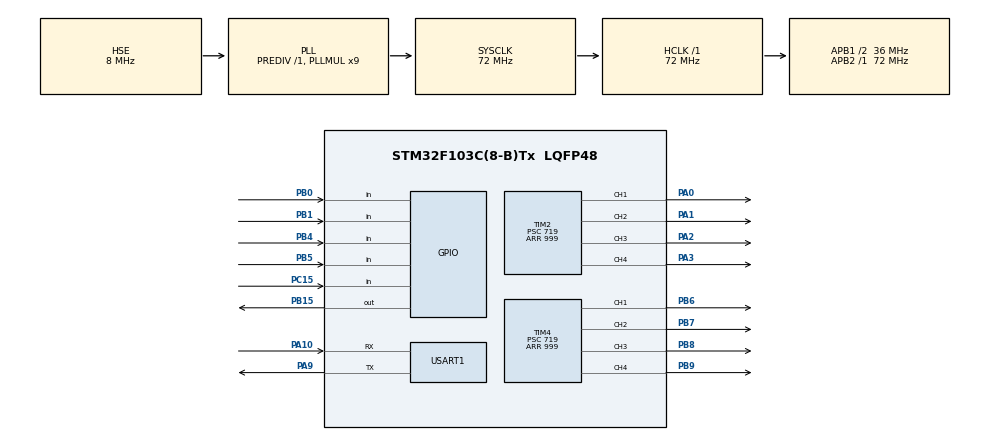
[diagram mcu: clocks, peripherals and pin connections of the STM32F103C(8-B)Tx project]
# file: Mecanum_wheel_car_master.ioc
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Mcu.Family=STM32F1
Mcu.Name=STM32F103C(8-B)Tx
Mcu.Package=LQFP48
NVIC.PriorityGroup=NVIC_PRIORITYGROUP_4
NVIC.TIM3_IRQn=true\:0\:0\:false\:false\:true\:true\:true\:true
NVIC.USART1_IRQn=true\:0\:0\:false\:false\:true\:true\:true\:true
PA0-WKUP.Signal=S_TIM2_CH1_ETR
PA1.Signal=S_TIM2_CH2
PA10.Mode=Asynchronous
PA10.Signal=USART1_RX
PA13.Mode=Serial_Wire
PA13.Signal=SYS_JTMS-SWDIO
PA14.Mode=Serial_Wire
PA14.Signal=SYS_JTCK-SWCLK
PA2.Signal=S_TIM2_CH3
PA3.Signal=S_TIM2_CH4
PA9.Mode=Asynchronous
PA9.Signal=USART1_TX
PB0.GPIO_Mode=GPIO_MODE_INPUT
PB0.GPIO_PuPd=GPIO_PULLUP
PB0.Signal=GPIO_Input
PB1.GPIO_Mode=GPIO_MODE_INPUT
PB1.GPIO_PuPd=GPIO_PULLUP
PB1.Signal=GPIO_Input
PB15.GPIO_PuPd=GPIO_PULLDOWN
PB15.GPIO_Speed=GPIO_SPEED_FREQ_HIGH
PB15.Signal=GPIO_Output
PB4.GPIO_Mode=GPIO_MODE_INPUT
PB4.GPIO_PuPd=GPIO_PULLUP
PB4.Signal=GPIO_Input
PB5.GPIO_Mode=GPIO_MODE_INPUT
PB5.GPIO_PuPd=GPIO_PULLUP
PB5.Signal=GPIO_Input
PB6.Signal=S_TIM4_CH1
PB7.Signal=S_TIM4_CH2
PB8.Signal=S_TIM4_CH3
PB9.Signal=S_TIM4_CH4
PC15-OSC32_OUT.GPIO_Mode=GPIO_MODE_INPUT
PC15-OSC32_OUT.GPIO_PuPd=GPIO_PULLDOWN
PC15-OSC32_OUT.Signal=GPIO_Input
PD0-OSC_IN.Mode=HSE-External-Oscillator
PD0-OSC_IN.Signal=RCC_OSC_IN
PD1-OSC_OUT.Mode=HSE-External-Oscillator
PD1-OSC_OUT.Signal=RCC_OSC_OUT
ProjectManager.HeapSize=0x200
ProjectManager.StackSize=0x400
ProjectManager.TargetToolchain=MDK-ARM V5.32
RCC.AHBFreq_Value=72000000
RCC.APB1CLKDivider=RCC_HCLK_DIV2
RCC.APB1Freq_Value=36000000
RCC.APB1TimFreq_Value=72000000
RCC.APB2Freq_Value=72000000
RCC.APB2TimFreq_Value=72000000
RCC.HCLKFreq_Value=72000000
RCC.PLLMUL=RCC_PLL_MUL9
RCC.PLLSourceVirtual=RCC_PLLSOURCE_HSE
RCC.SYSCLKFreq_VALUE=72000000
RCC.SYSCLKSource=RCC_SYSCLKSOURCE_PLLCLK
RCC.USBFreq_Value=72000000
SH.S_TIM2_CH1_ETR.0=TIM2_CH1,PWM Generation1 CH1
SH.S_TIM2_CH2.0=TIM2_CH2,PWM Generation2 CH2
SH.S_TIM2_CH3.0=TIM2_CH3,PWM Generation3 CH3
SH.S_TIM2_CH4.0=TIM2_CH4,PWM Generation4 CH4
SH.S_TIM4_CH1.0=TIM4_CH1,PWM Generation1 CH1
SH.S_TIM4_CH2.0=TIM4_CH2,PWM Generation2 CH2
SH.S_TIM4_CH3.0=TIM4_CH3,PWM Generation3 CH3
SH.S_TIM4_CH4.0=TIM4_CH4,PWM Generation4 CH4
TIM2.AutoReloadPreload=TIM_AUTORELOAD_PRELOAD_ENABLE
TIM2.Channel-PWM\ Generation1\ CH1=TIM_CHANNEL_1
TIM2.Channel-PWM\ Generation2\ CH2=TIM_CHANNEL_2
TIM2.Channel-PWM\ Generation3\ CH3=TIM_CHANNEL_3
TIM2.Channel-PWM\ Generation4\ CH4=TIM_CHANNEL_4
TIM2.Period=999
TIM2.Prescaler=719
TIM3.AutoReloadPreload=TIM_AUTORELOAD_PRELOAD_ENABLE
TIM3.Period=9
TIM3.Prescaler=71
TIM4.AutoReloadPreload=TIM_AUTORELOAD_PRELOAD_ENABLE
TIM4.Channel-PWM\ Generation1\ CH1=TIM_CHANNEL_1
TIM4.Channel-PWM\ Generation2\ CH2=TIM_CHANNEL_2
TIM4.Channel-PWM\ Generation3\ CH3=TIM_CHANNEL_3
TIM4.Channel-PWM\ Generation4\ CH4=TIM_CHANNEL_4
TIM4.Period=999
TIM4.Prescaler=719
USART1.VirtualMode=VM_ASYNC
VP_TIM2_VS_ClockSourceINT.Mode=Internal
VP_TIM3_VS_ClockSourceINT.Mode=Internal
VP_TIM4_VS_ClockSourceINT.Mode=Internal
board=custom

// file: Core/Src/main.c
/* USER CODE BEGIN Header */
/**
  ******************************************************************************
  * @file           : main.c
  * @brief          : Main program body (Mecanum Wheel Car + USART1 Integration)
  ******************************************************************************
  */
/* USER CODE END Header */
#include "main.h"
#include "tim.h"
#include "usart.h"
#include "gpio.h"

/* USER CODE BEGIN Includes */
#include "motor.h"
#include "sensor.h"
#include "LED.h"
#include <string.h>
#include "PID.h"
#include "avoid.h"
#include "HC_SR04.h"
/* USER CODE END Includes */

/* USER CODE BEGIN PTD */
// 定义小车运行模式枚举
typedef enum {
    MODE_PATROL = 0,    // 循迹巡逻模式
    MODE_INTERCEPT = 1, // 离轨拦截模式
} CarMode_TypeDef;
/* USER CODE END PTD */

/* USER CODE BEGIN PV */
uint8_t SensorState[4];
uint8_t Area, Last_Area; // 巡线区域记录变量

CarMode_TypeDef CarMode = MODE_PATROL; // 默认开机为巡逻模式
/* USER CODE END PV */

void SystemClock_Config(void);
/* USER CODE BEGIN PFP */
void Send_Status_To_Upper(float distance_mm, uint8_t is_emergency);
/* USER CODE END PFP */

int main(void)
{

  /* MCU Configuration--------------------------------------------------------*/

  /* Reset of all peripherals, Initializes the Flash interface and the Systick. */
  HAL_Init();

  /* Configure the system clock */
  SystemClock_Config();

  /* Initialize all configured peripherals */
  MX_GPIO_Init();
  MX_TIM2_Init();
  MX_TIM4_Init();
  MX_TIM3_Init();
  MX_USART1_UART_Init();
  /* USER CODE BEGIN 2 */
  LED_Init();
  Motor_Init();   // 启动电机 PWM 通道
  Usart1_Init();  // 启动串口 1 中断接收
  Avoid_Init();   // 避障初始化
  /* USER CODE END 2 */

  while (1)
  {
    /* USER CODE END WHILE */

    /* USER CODE BEGIN 3 */
    // 1. 高频刷新超声波避障检测，并获取当前的物理状态
    Avoid_Check_Obstacle();
    uint8_t is_emergency = Avoid_Get_Emergency_Flag();
    float distance_mm = Avoid_Get_Distance();

    // 实时读取4路红外状态 (0代表黑线，1代表白地)
    SensorState[0] = Sensor0_Get_State(); // PB1 左外
    SensorState[1] = Sensor1_Get_State(); // PB0 左内
    SensorState[2] = Sensor2_Get_State(); // PB4 右内
    SensorState[3] = Sensor3_Get_State(); // PB5 右外

    // 只要有任意一路红外探头检测到黑线，hit_black_line 为 1
    uint8_t hit_black_line = (!SensorState[0] || !SensorState[1] || !SensorState[2] || !SensorState[3]);

    // 2. 监测串口 1 是否收到了上位机的 8 字节十六进制指令
    if (Usart1_GetRxFlag())
    {
        uint8_t cmd_type = RxBuffer[2];

        if (cmd_type == 0x01) // 拦截 / 上位机运动控制指令
        {
            int8_t rx_vx = (int8_t)RxBuffer[3];
            int8_t rx_vy = (int8_t)RxBuffer[4];
            int8_t rx_w  = (int8_t)RxBuffer[5];

            // =================================================================
            // 核心回航自锁：如果上位机发的是倒车指令 (rx_vx < 0)，且探头压到了黑线：
            // 单片机立刻就地截断倒车，强制切回巡线模式，拒绝继续往后倒！
            // 追人时 rx_vx > 0，即使碾过黑线也绝不误触发，继续全速追人！
            // =================================================================
            if (rx_vx < 0 && hit_black_line)
            {
                CarMode = MODE_PATROL; // 触线自锁，立刻交还巡线！
                Last_Area = 3;
            }
            else
            {
                CarMode = MODE_INTERCEPT; // 正常上位机接管 (追人冲锋或在白地上倒车)
                int16_t target_vx = (int16_t)rx_vx * 10;
                int16_t target_vy = (int16_t)rx_vy * 10;
                int16_t target_w  = (int16_t)rx_w * 10;
                Mechanics_Move(target_vx, target_vy, target_w);
            }
        }
        else if (cmd_type == 0x00) // 恢复自主巡逻模式
        {
            CarMode = MODE_PATROL;
            Last_Area = 3;
        }
    }

    // 2.1 双重保险：如果在接管模式倒车中途，探头刚刚划过黑线，立即毫秒级切换！
    if (CarMode == MODE_INTERCEPT)
    {
        int8_t current_rx_vx = (int8_t)RxBuffer[3];
        if (current_rx_vx < 0 && hit_black_line)
        {
            CarMode = MODE_PATROL;
            Last_Area = 3;
        }
    }

    // 3. 根据当前模式，执行不同的业务逻辑 (100% 恢复最初原始速度！)
    if (CarMode == MODE_PATROL)
    {
        // 循迹巡逻模式下的避障与巡线逻辑
        if (is_emergency == 0)
        {
            if (SensorState[0] && !SensorState[1] && !SensorState[2] && SensorState[3])   // Area 3: 居中，直行
            {
                Area = 3;
                Car_Forward(200);
            }
            else if (SensorState[0] && SensorState[1] && !SensorState[2] && SensorState[3]) // Area 4: 轻微偏左，向右小转修正
            {
                Area = 4;
                Car_TurnRight(200);
            }
            else if (SensorState[0] && SensorState[1] && SensorState[2] && !SensorState[3]) // Area 6: 严重偏左，向右大转急转
            {
                Area = 6;
                Car_TurnRight(300);
            }
            else if (SensorState[0] && !SensorState[1] && SensorState[2] && SensorState[3]) // Area 2: 轻微偏右，向左小转修正
            {
                Area = 2;
                Car_TurnLeft(200);
            }
            else if (!SensorState[0] && SensorState[1] && SensorState[2] && SensorState[3]) // Area 0: 严重偏右，向左大转急转
            {
                Area = 0;
                Car_TurnLeft(300);
            }
            else if (SensorState[0] && SensorState[1] && SensorState[2] && SensorState[3])  // 全部脱轨丢失黑线
            {
                if (Last_Area == 4)   // 根据上一次的转向趋势执行惯性寻线
                {
                    Area = 5;
                    Car_TurnRight(250);
                }
                else if (Last_Area == 2)
                {
                    Area = 1;
                    Car_TurnLeft(250);
                }
            }

            Last_Area = Area;
        }
    }

    // 4. 每隔 1 秒，自动向上位机上报一次小车传感器状态 (0xFF 0xFE 0x02 ...)
    static uint32_t last_time = 0;
    if (HAL_GetTick() - last_time >= 1000)
    {
        Send_Status_To_Upper(distance_mm, is_emergency);
        last_time = HAL_GetTick();
    }

    HAL_Delay(30); // 恢复最初原版的 30ms 延时
  }
  /* USER CODE END 3 */

}

void SystemClock_Config(void)
{
  RCC_OscInitTypeDef RCC_OscInitStruct = {0};
  RCC_ClkInitTypeDef RCC_ClkInitStruct = {0};

  RCC_OscInitStruct.OscillatorType = RCC_OSCILLATORTYPE_HSE;
  RCC_OscInitStruct.HSEState = RCC_HSE_ON;
  RCC_OscInitStruct.HSEPredivValue = RCC_HSE_PREDIV_DIV1;
  RCC_OscInitStruct.HSIState = RCC_HSI_ON;
  RCC_OscInitStruct.PLL.PLLState = RCC_PLL_ON;
  RCC_OscInitStruct.PLL.PLLSource = RCC_PLLSOURCE_HSE;
  RCC_OscInitStruct.PLL.PLLMUL = RCC_PLL_MUL9;
  if (HAL_RCC_OscConfig(&RCC_OscInitStruct) != HAL_OK)
  {
    Error_Handler();
  }

  RCC_ClkInitStruct.ClockType = RCC_CLOCKTYPE_HCLK|RCC_CLOCKTYPE_SYSCLK
                              |RCC_CLOCKTYPE_PCLK1|RCC_CLOCKTYPE_PCLK2;
  RCC_ClkInitStruct.SYSCLKSource = RCC_SYSCLKSOURCE_PLLCLK;
  RCC_ClkInitStruct.AHBCLKDivider = RCC_SYSCLK_DIV1;
  RCC_ClkInitStruct.APB1CLKDivider = RCC_HCLK_DIV2;
  RCC_ClkInitStruct.APB2CLKDivider = RCC_HCLK_DIV1;

  if (HAL_RCC_ClockConfig(&RCC_ClkInitStruct, FLASH_LATENCY_2) != HAL_OK)
  {
    Error_Handler();
  }
}

/* USER CODE BEGIN 4 */
/**
  * @brief  下位机状态主动上报函数（STM32 -> Radxa/PC）
  */
void Send_Status_To_Upper(float distance_mm, uint8_t is_emergency)
{
    uint16_t dist = (uint16_t)distance_mm;
    uint8_t dist_h = (dist >> 8) & 0xFF;
    uint8_t dist_l = dist & 0xFF;

    uint8_t tx_frame[8] = {0xFF, 0xFE, 0x02, dist_h, dist_l, is_emergency, 0x00, 0xAA};
    Usart1_SendArray(tx_frame, 8); // 已修正为通过串口 1 发送
}
/* USER CODE END 4 */

void Error_Handler(void)
{
  __disable_irq();
  while (1)
  {
  }
}
